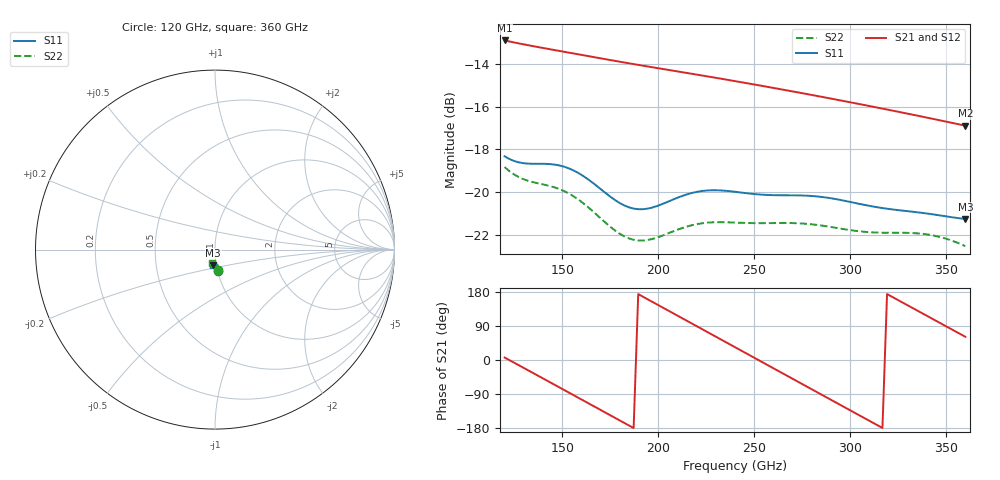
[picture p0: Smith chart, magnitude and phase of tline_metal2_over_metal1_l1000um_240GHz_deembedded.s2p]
! Created with skrf 2.0.1 (http://scikit-rf.org).
# GHz S DB R 50.0
!freq dBS11 angS11 dBS21 angS21 dBS12 angS12 dBS22 angS22
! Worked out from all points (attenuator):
!   101 points, 120 GHz to 360 GHz, reference 50 ohm
!   highest |S21| = -12.89 dB at 120 GHz (marker M1); lowest = -16.9 dB at 360 GHz (marker M2)
!   lowest |S11| = -21.3 dB at 360 GHz (marker M3), VSWR 1.19, Z = 48.3 - j8.36 ohm
!   |S11| at or under -10 dB: start of sweep to end of sweep
!   |S22| runs from -22.5 to -18.8 dB; largest |S21 - S12| = 1.6e-13
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120  -18.32 -81.1  -12.89 6.5  -12.89 6.5  -18.83 -82.5
129.6  -18.64 -79.4  -13.07 -19.9  -13.07 -19.9  -19.39 -80.6
141.6  -18.68 -79.9  -13.27 -53.1  -13.27 -53.1  -19.67 -80.4
151.2  -18.82 -82.5  -13.43 -79.7  -13.43 -79.7  -19.96 -82.2
160.8  -19.24 -85.4  -13.58 -106.3  -13.58 -106.3  -20.51 -84.3
172.8  -20.06 -86.8  -13.77 -139.6  -13.77 -139.6  -21.45 -84.6
182.4  -20.63 -85.1  -13.93 -166.2  -13.93 -166.2  -22.08 -82.0
192  -20.80 -82.0  -14.07 167.2  -14.07 167.2  -22.27 -78.2
201.6  -20.58 -80.1  -14.22 140.5  -14.22 140.5  -22.06 -75.7
211.2  -20.22 -80.3  -14.36 113.9  -14.36 113.9  -21.73 -75.5
220.8  -19.98 -82.2  -14.50 87.2  -14.50 87.2  -21.49 -76.9
240  -19.99 -86.6  -14.80 33.8  -14.80 33.8  -21.43 -80.6
249.6  -20.09 -88.1  -14.95 7.1  -14.95 7.1  -21.45 -82.0
259.2  -20.14 -89.1  -15.10 -19.5  -15.10 -19.5  -21.45 -83.4
271.2  -20.15 -90.8  -15.30 -52.9  -15.30 -52.9  -21.46 -85.7
280.8  -20.19 -92.4  -15.46 -79.5  -15.46 -79.5  -21.52 -87.7
290.4  -20.30 -94.1  -15.62 -106.2  -15.62 -106.2  -21.64 -89.6
302.4  -20.51 -95.7  -15.83 -139.4  -15.83 -139.4  -21.81 -91.3
312  -20.68 -96.3  -16.00 -166.0  -16.00 -166.0  -21.89 -92.4
321.6  -20.81 -96.7  -16.17 167.4  -16.17 167.4  -21.91 -93.7
340.8  -21.01 -97.4  -16.53 114.2  -16.53 114.2  -21.99 -98.1
360  -21.26 -96.8  -16.89 61.2  -16.89 61.2  -22.53 -103.0
